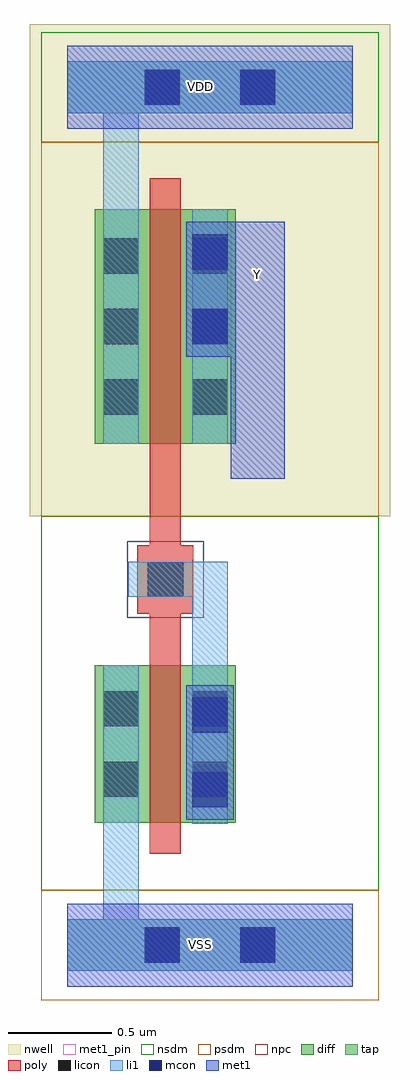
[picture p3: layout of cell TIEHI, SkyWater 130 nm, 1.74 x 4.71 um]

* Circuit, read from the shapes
.subckt TIEHI VDD VSS Y
XM1 n1 n1 VSS VSS sky130_fd_pr__nfet_01v8 w=0.76 l=0.15
XM2 Y n1 VDD VDD sky130_fd_pr__pfet_01v8 w=1.13 l=0.15
.ends

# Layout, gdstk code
from math import pi, radians
import gdstk
lib = gdstk.Library(unit=1e-6, precision=1e-09)
def R(c, l, rs):  # rectangles x0, y0, x1, y1
    for r in rs: c.add(gdstk.rectangle(r[:2], r[2:], *l))
def A(c, l, x, y, w, h, nx, ny, dx, dy):  # array of equal rectangles
    R(c, l, [(x+i*dx, y+j*dy, x+i*dx+w, y+j*dy+h) for i in range(nx) for j in range(ny)])
nwell = (64, 20)
diff = (65, 20)
tap = (65, 44)
poly = (66, 20)
licon = (66, 44)
li1 = (67, 20)
mcon = (67, 44)
met1_pin = (68, 16)
met1 = (68, 20)
nsdm = (93, 44)
psdm = (94, 20)
npc = (95, 20)

nfet_01v8_cdns_715785618 = lib.new_cell('nfet_01v8_CDNS_715785618200')
R(nfet_01v8_cdns_715785618, diff, [(-0.265,0,0,0.76), (0,0,0.15,0.76), (0.15,0,0.415,0.76)])
R(nfet_01v8_cdns_715785618, poly, [(0,-0.15,0.15,-0.095), (0,-0.095,0.15,0), (0,0,0.15,0.76), (0,0.76,0.15,0.855), (0,0.855,0.15,0.91)])
R(nfet_01v8_cdns_715785618, licon, [(-0.225,0.125,-0.055,0.295), (0.205,0.125,0.375,0.295), (-0.225,0.465,-0.055,0.635), (0.205,0.465,0.375,0.635)])
R(nfet_01v8_cdns_715785618, li1, [(-0.225,0,-0.055,0.76), (0.205,0,0.375,0.76)])
R(nfet_01v8_cdns_715785618, nsdm, [(-0.405,-0.13,0.555,0.89)])

pfet_01v8_cdns_715785618 = lib.new_cell('pfet_01v8_CDNS_715785618202')
R(pfet_01v8_cdns_715785618, nwell, [(-0.445,-0.18,0.595,1.31)])
R(pfet_01v8_cdns_715785618, diff, [(-0.265,0,0,1.13), (0,0,0.15,1.13), (0.15,0,0.415,1.13)])
R(pfet_01v8_cdns_715785618, poly, [(0,-0.15,0.15,-0.095), (0,-0.095,0.15,0), (0,0,0.15,1.13), (0,1.13,0.15,1.225), (0,1.225,0.15,1.28)])
A(pfet_01v8_cdns_715785618, licon, -0.225, 0.14, 0.17, 0.17, 1, 3, 0, 0.34)
A(pfet_01v8_cdns_715785618, licon, 0.205, 0.14, 0.17, 0.17, 1, 3, 0, 0.34)
R(pfet_01v8_cdns_715785618, li1, [(-0.225,0,-0.055,1.13), (0.205,0,0.375,1.13)])
R(pfet_01v8_cdns_715785618, psdm, [(-0.405,-0.13,0.555,1.26)])

l1m1_c_cdns_715785618205 = lib.new_cell('L1M1_C_CDNS_715785618205')
R(l1m1_c_cdns_715785618205, li1, [(-0.085,-0.345,0.085,0.345)])
R(l1m1_c_cdns_715785618205, mcon, [(-0.085,-0.265,0.085,-0.095), (-0.085,0.095,0.085,0.265)])
R(l1m1_c_cdns_715785618205, met1, [(-0.115,-0.325,0.115,0.325)])

pyl1con_c_cdns_715785618 = lib.new_cell('PYL1CON_C_CDNS_715785618200')
R(pyl1con_c_cdns_715785618, poly, [(-0.135,-0.165,0.135,0.165)])
R(pyl1con_c_cdns_715785618, licon, [(-0.085,-0.085,0.085,0.085)])
R(pyl1con_c_cdns_715785618, npc, [(-0.185,-0.185,0.185,0.185)])

tiehi = lib.new_cell('TIEHI')
R(tiehi, nwell, [(-0.18,2.07,1.56,4.305), (-0.18,3.875,1.56,4.445)])
R(tiehi, licon, [(0.375,-0.085,0.545,0.085), (0.835,-0.085,1.005,0.085), (0.375,4.055,0.545,4.225), (0.835,4.055,1.005,4.225)])
R(tiehi, mcon, [(0.375,-0.085,0.545,0.085), (0.835,-0.085,1.005,0.085), (0.375,4.055,0.545,4.225), (0.835,4.055,1.005,4.225)])
R(tiehi, met1_pin, [(0.79,2.25,1.05,3.49)])
R(tiehi, nsdm, [(-0.125,0.265,1.505,2.07), (-0.125,3.875,1.505,4.405), (-0.125,3.93,1.505,4.35)])
R(tiehi, psdm, [(-0.125,-0.265,1.505,0.265), (-0.125,-0.21,1.505,0.21), (-0.125,2.07,1.505,3.875)])
tiehi.add(gdstk.FlexPath([(0,4.14),(1.38,4.14)], 0.4, ends="flush", simple_path=True, layer=68, datatype=20))  # met1
tiehi.add(gdstk.FlexPath([(0,0),(1.38,0)], 0.4, ends="flush", simple_path=True, layer=68, datatype=20))  # met1
tiehi.add(gdstk.FlexPath([(0.92,3.49),(0.92,2.25)], 0.26, ends="flush", simple_path=True, layer=68, datatype=20))  # met1
tiehi.add(gdstk.FlexPath([(0,4.14),(1.38,4.14)], 0.25, ends="flush", simple_path=True, layer=65, datatype=44))  # tap
tiehi.add(gdstk.FlexPath([(0,0),(1.38,0)], 0.25, ends="flush", simple_path=True, layer=65, datatype=44))  # tap
tiehi.add(gdstk.FlexPath([(0.475,2.27),(0.475,1.46)], 0.15, ends="flush", simple_path=True, layer=66, datatype=20))  # poly
tiehi.add(gdstk.FlexPath([(0.26,3.55),(0.26,4.14)], 0.17, ends=(0, 0.125), simple_path=True, layer=67, datatype=20))  # li1
tiehi.add(gdstk.FlexPath([(0.26,0),(0.215,0)], 0.17, ends=(0.085, 0), simple_path=True, layer=67, datatype=20))  # li1
tiehi.add(gdstk.FlexPath([(0.26,0.59),(0.26,0)], 0.17, ends=(0, 0.085), simple_path=True, layer=67, datatype=20))  # li1
tiehi.add(gdstk.FlexPath([(0,0),(1.38,0)], 0.25, ends="flush", simple_path=True, layer=67, datatype=20))  # li1
tiehi.add(gdstk.FlexPath([(0,4.14),(1.38,4.14)], 0.25, ends="flush", simple_path=True, layer=67, datatype=20))  # li1
tiehi.add(gdstk.FlexPath([(0.69,1.225),(0.69,1.85)], 0.17, ends="flush", simple_path=True, layer=67, datatype=20))  # li1
tiehi.add(gdstk.FlexPath([(0.295,1.765),(0.64,1.765)], 0.17, ends="flush", simple_path=True, layer=67, datatype=20))  # li1
tiehi.add(gdstk.FlexPath([(0,0),(1.38,0)], 0.4, ends="flush", simple_path=True, layer=68, datatype=16))  # met1_pin
tiehi.add(gdstk.FlexPath([(0,4.14),(1.38,4.14)], 0.4, ends="flush", simple_path=True, layer=68, datatype=16))  # met1_pin
tiehi.add(gdstk.Reference(nfet_01v8_cdns_715785618, (0.4,0.59)))
tiehi.add(gdstk.Reference(pfet_01v8_cdns_715785618, (0.4,2.42)))
tiehi.add(gdstk.Reference(l1m1_c_cdns_715785618205, (0.69,3.165)))
tiehi.add(gdstk.Reference(l1m1_c_cdns_715785618205, (0.69,0.93)))
tiehi.add(gdstk.Reference(pyl1con_c_cdns_715785618, (0.475,1.765), rotation=pi, x_reflection=True))
tiehi.add(gdstk.Label('VDD', (0.645,4.145), layer=68, texttype=5))
tiehi.add(gdstk.Label('VSS', (0.645,0.005), layer=68, texttype=5))
tiehi.add(gdstk.Label('Y', (0.917,3.235), layer=68, texttype=5))

lib.write_gds('TIEHI.gds')
